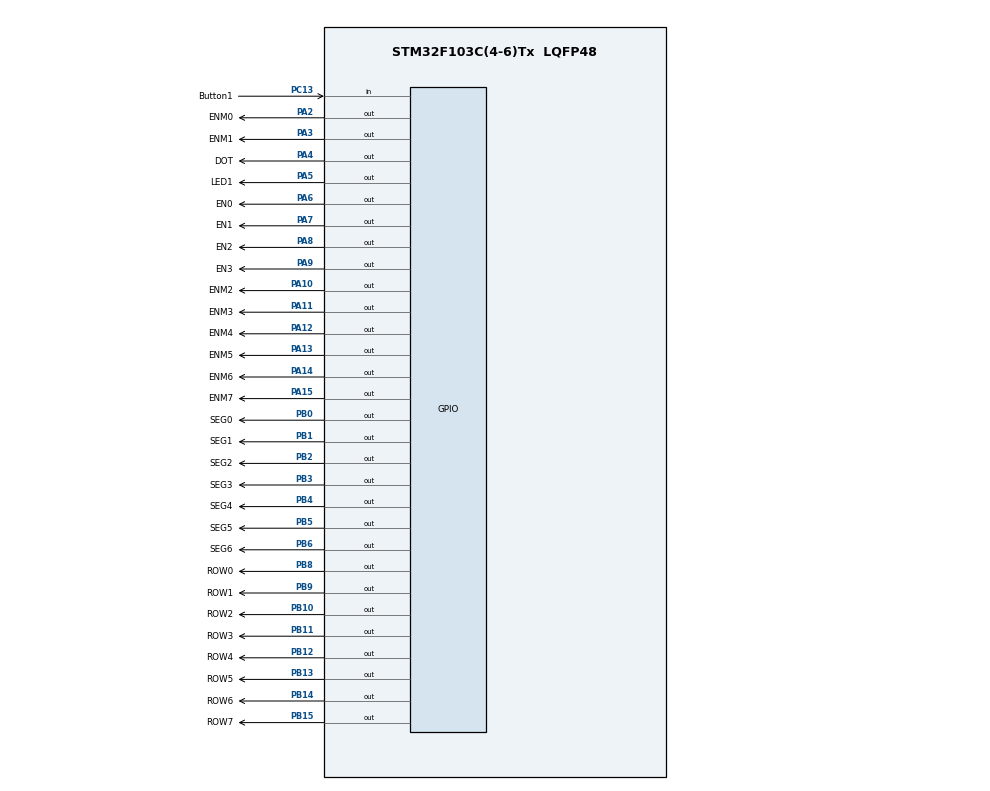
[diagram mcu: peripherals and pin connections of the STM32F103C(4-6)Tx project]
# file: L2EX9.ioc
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Mcu.Family=STM32F1
Mcu.Name=STM32F103C(4-6)Tx
Mcu.Package=LQFP48
NVIC.PriorityGroup=NVIC_PRIORITYGROUP_4
NVIC.TIM2_IRQn=true\:0\:0\:false\:false\:true\:true\:true\:true
PA10.GPIO_Label=ENM2
PA10.Signal=GPIO_Output
PA11.GPIO_Label=ENM3
PA11.Signal=GPIO_Output
PA12.GPIO_Label=ENM4
PA12.Signal=GPIO_Output
PA13.GPIO_Label=ENM5
PA13.Signal=GPIO_Output
PA14.GPIO_Label=ENM6
PA14.Signal=GPIO_Output
PA15.GPIO_Label=ENM7
PA15.Signal=GPIO_Output
PA2.GPIO_Label=ENM0
PA2.Signal=GPIO_Output
PA3.GPIO_Label=ENM1
PA3.Signal=GPIO_Output
PA4.GPIO_Label=DOT
PA4.Signal=GPIO_Output
PA5.GPIO_Label=LED1
PA5.Signal=GPIO_Output
PA6.GPIO_Label=EN0
PA6.Signal=GPIO_Output
PA7.GPIO_Label=EN1
PA7.Signal=GPIO_Output
PA8.GPIO_Label=EN2
PA8.Signal=GPIO_Output
PA9.GPIO_Label=EN3
PA9.Signal=GPIO_Output
PB0.GPIO_Label=SEG0
PB0.Signal=GPIO_Output
PB1.GPIO_Label=SEG1
PB1.Signal=GPIO_Output
PB10.GPIO_Label=ROW2
PB10.Signal=GPIO_Output
PB11.GPIO_Label=ROW3
PB11.Signal=GPIO_Output
PB12.GPIO_Label=ROW4
PB12.Signal=GPIO_Output
PB13.GPIO_Label=ROW5
PB13.Signal=GPIO_Output
PB14.GPIO_Label=ROW6
PB14.Signal=GPIO_Output
PB15.GPIO_Label=ROW7
PB15.Signal=GPIO_Output
PB2.GPIO_Label=SEG2
PB2.Signal=GPIO_Output
PB3.GPIO_Label=SEG3
PB3.Signal=GPIO_Output
PB4.GPIO_Label=SEG4
PB4.Signal=GPIO_Output
PB5.GPIO_Label=SEG5
PB5.Signal=GPIO_Output
PB6.GPIO_Label=SEG6
PB6.Signal=GPIO_Output
PB8.GPIO_Label=ROW0
PB8.Signal=GPIO_Output
PB9.GPIO_Label=ROW1
PB9.Signal=GPIO_Output
PC13-TAMPER-RTC.GPIO_Label=Button1
PC13-TAMPER-RTC.GPIO_PuPd=GPIO_PULLUP
PC13-TAMPER-RTC.Signal=GPIO_Input
ProjectManager.HeapSize=0x200
ProjectManager.StackSize=0x400
ProjectManager.TargetToolchain=STM32CubeIDE
RCC.APB1Freq_Value=8000000
RCC.APB2Freq_Value=8000000
TIM2.Period=9
TIM2.Prescaler=7999
VP_TIM2_VS_ClockSourceINT.Mode=Internal
board=custom

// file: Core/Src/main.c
/* USER CODE BEGIN Header */
/**
  ******************************************************************************
  * @file           : main.c
  * @brief          : Main program body
  ******************************************************************************
  * @attention
  *
  * Copyright (c) 2022 STMicroelectronics.
  * All rights reserved.
  *
  * This software is licensed under terms that can be found in the LICENSE file
  * in the root directory of this software component.
  * If no LICENSE file comes with this software, it is provided AS-IS.
  *
  ******************************************************************************
  */
/* USER CODE END Header */
#include "main.h"

/* USER CODE BEGIN Includes */
#include "Software_Timer.h"

/* USER CODE END Includes */

TIM_HandleTypeDef htim2;

void SystemClock_Config(void);
static void MX_GPIO_Init(void);
static void MX_TIM2_Init(void);

/* USER CODE BEGIN 0 */
void display7SEG(int num){

	switch(num) {
	  case 0:
	    	HAL_GPIO_WritePin(SEG0_GPIO_Port, SEG0_Pin, RESET);
	    	HAL_GPIO_WritePin(SEG1_GPIO_Port, SEG1_Pin, RESET);
	    	HAL_GPIO_WritePin(SEG2_GPIO_Port, SEG2_Pin, RESET);
	    	HAL_GPIO_WritePin(SEG3_GPIO_Port, SEG3_Pin, RESET);
	    	HAL_GPIO_WritePin(SEG4_GPIO_Port, SEG4_Pin, RESET);
	    	HAL_GPIO_WritePin(SEG5_GPIO_Port, SEG5_Pin, RESET);
	    	HAL_GPIO_WritePin(SEG6_GPIO_Port, SEG6_Pin, SET);
		  	break;
	  case 1:
		    HAL_GPIO_WritePin(SEG0_GPIO_Port, SEG0_Pin, SET);
	    	HAL_GPIO_WritePin(SEG1_GPIO_Port, SEG1_Pin, RESET);
		   	HAL_GPIO_WritePin(SEG2_GPIO_Port, SEG2_Pin, RESET);
		  	HAL_GPIO_WritePin(SEG3_GPIO_Port, SEG3_Pin, SET);
		  	HAL_GPIO_WritePin(SEG4_GPIO_Port, SEG4_Pin, SET);
		   	HAL_GPIO_WritePin(SEG5_GPIO_Port, SEG5_Pin, SET);
		   	HAL_GPIO_WritePin(SEG6_GPIO_Port, SEG6_Pin, SET);
		  	break;
	  case 2:
		    HAL_GPIO_WritePin(SEG0_GPIO_Port, SEG0_Pin, RESET);
		    HAL_GPIO_WritePin(SEG1_GPIO_Port, SEG1_Pin, RESET);
		    HAL_GPIO_WritePin(SEG2_GPIO_Port, SEG2_Pin, SET);
		    HAL_GPIO_WritePin(SEG3_GPIO_Port, SEG3_Pin, RESET);
		    HAL_GPIO_WritePin(SEG4_GPIO_Port, SEG4_Pin, RESET);
		    HAL_GPIO_WritePin(SEG5_GPIO_Port, SEG5_Pin, SET);
		    HAL_GPIO_WritePin(SEG6_GPIO_Port, SEG6_Pin, RESET);
		   	break;
	  case 3:
		  	HAL_GPIO_WritePin(SEG0_GPIO_Port, SEG0_Pin, RESET);
		    HAL_GPIO_WritePin(SEG1_GPIO_Port, SEG1_Pin, RESET);
		    HAL_GPIO_WritePin(SEG2_GPIO_Port, SEG2_Pin, RESET);
		    HAL_GPIO_WritePin(SEG3_GPIO_Port, SEG3_Pin, RESET);
		    HAL_GPIO_WritePin(SEG4_GPIO_Port, SEG4_Pin, SET);
		    HAL_GPIO_WritePin(SEG5_GPIO_Port, SEG5_Pin, SET);
		  	HAL_GPIO_WritePin(SEG6_GPIO_Port, SEG6_Pin, RESET);
		  	break;
	  case 4:
		  	HAL_GPIO_WritePin(SEG0_GPIO_Port, SEG0_Pin, SET);
		    HAL_GPIO_WritePin(SEG1_GPIO_Port, SEG1_Pin, RESET);
		    HAL_GPIO_WritePin(SEG2_GPIO_Port, SEG2_Pin, RESET);
		    HAL_GPIO_WritePin(SEG3_GPIO_Port, SEG3_Pin, SET);
		    HAL_GPIO_WritePin(SEG4_GPIO_Port, SEG4_Pin, SET);
		    HAL_GPIO_WritePin(SEG5_GPIO_Port, SEG5_Pin, RESET);
		    HAL_GPIO_WritePin(SEG6_GPIO_Port, SEG6_Pin, RESET);
		    break;
	  case 5:
		    HAL_GPIO_WritePin(SEG0_GPIO_Port, SEG0_Pin, RESET);
		    HAL_GPIO_WritePin(SEG1_GPIO_Port, SEG1_Pin, SET);
		    HAL_GPIO_WritePin(SEG2_GPIO_Port, SEG2_Pin, RESET);
		    HAL_GPIO_WritePin(SEG3_GPIO_Port, SEG3_Pin, RESET);
		    HAL_GPIO_WritePin(SEG4_GPIO_Port, SEG4_Pin, SET);
		    HAL_GPIO_WritePin(SEG5_GPIO_Port, SEG5_Pin, RESET);
		    HAL_GPIO_WritePin(SEG6_GPIO_Port, SEG6_Pin, RESET);
	  	    break;
	  case 6:
		  	HAL_GPIO_WritePin(SEG0_GPIO_Port, SEG0_Pin, RESET);
		    HAL_GPIO_WritePin(SEG1_GPIO_Port, SEG1_Pin, SET);
		    HAL_GPIO_WritePin(SEG2_GPIO_Port, SEG2_Pin, RESET);
		    HAL_GPIO_WritePin(SEG3_GPIO_Port, SEG3_Pin, RESET);
		    HAL_GPIO_WritePin(SEG4_GPIO_Port, SEG4_Pin, RESET);
		    HAL_GPIO_WritePin(SEG5_GPIO_Port, SEG5_Pin, RESET);
		    HAL_GPIO_WritePin(SEG6_GPIO_Port, SEG6_Pin, RESET);
		    break;
	  case 7:
	  		HAL_GPIO_WritePin(SEG0_GPIO_Port, SEG0_Pin, RESET);
	  		HAL_GPIO_WritePin(SEG1_GPIO_Port, SEG1_Pin, RESET);
	  	    HAL_GPIO_WritePin(SEG2_GPIO_Port, SEG2_Pin, RESET);
	  	    HAL_GPIO_WritePin(SEG3_GPIO_Port, SEG3_Pin, SET);
		    HAL_GPIO_WritePin(SEG4_GPIO_Port, SEG4_Pin, SET);
 		    HAL_GPIO_WritePin(SEG5_GPIO_Port, SEG5_Pin, SET);
		    HAL_GPIO_WritePin(SEG6_GPIO_Port, SEG6_Pin, SET);
	  		break;
	  case 8:
	    	HAL_GPIO_WritePin(SEG0_GPIO_Port, SEG0_Pin, RESET);
		    HAL_GPIO_WritePin(SEG1_GPIO_Port, SEG1_Pin, RESET);
		    HAL_GPIO_WritePin(SEG2_GPIO_Port, SEG2_Pin, RESET);
		    HAL_GPIO_WritePin(SEG3_GPIO_Port, SEG3_Pin, RESET);
	        HAL_GPIO_WritePin(SEG4_GPIO_Port, SEG4_Pin, RESET);
	  	    HAL_GPIO_WritePin(SEG5_GPIO_Port, SEG5_Pin, RESET);
		    HAL_GPIO_WritePin(SEG6_GPIO_Port, SEG6_Pin, RESET);
		    break;
	  case 9:
	  		HAL_GPIO_WritePin(SEG0_GPIO_Port, SEG0_Pin, RESET);
	  		HAL_GPIO_WritePin(SEG1_GPIO_Port, SEG1_Pin, RESET);
	  		HAL_GPIO_WritePin(SEG2_GPIO_Port, SEG2_Pin, RESET);
	  	    HAL_GPIO_WritePin(SEG3_GPIO_Port, SEG3_Pin, RESET);
	  	    HAL_GPIO_WritePin(SEG4_GPIO_Port, SEG4_Pin, SET);
		    HAL_GPIO_WritePin(SEG5_GPIO_Port, SEG5_Pin, RESET);
	  		HAL_GPIO_WritePin(SEG6_GPIO_Port, SEG6_Pin, RESET);
	  	    break;
	  default:
		  	break;
	}

}

const int MAX_LED = 4;
int index_led = 0;
int led_buffer [4] = {1 , 2 , 3 , 4};
void update7SEG ( int index ) {
	switch ( index ) {
		case 0:
			// Display the first 7 SEG with led_buffer [0]
			HAL_GPIO_WritePin(EN1_GPIO_Port, EN1_Pin, SET);
			HAL_GPIO_WritePin(EN2_GPIO_Port, EN2_Pin, SET);
			HAL_GPIO_WritePin(EN3_GPIO_Port, EN3_Pin, SET);
			display7SEG(led_buffer[0]);
			HAL_GPIO_WritePin(EN0_GPIO_Port, EN0_Pin, RESET);
		break ;
		case 1:
			// Display the second 7 SEG with led_buffer [1]
			HAL_GPIO_WritePin(EN0_GPIO_Port, EN0_Pin, SET);
			HAL_GPIO_WritePin(EN2_GPIO_Port, EN2_Pin, SET);
			HAL_GPIO_WritePin(EN3_GPIO_Port, EN3_Pin, SET);
			display7SEG(led_buffer[1]);
			HAL_GPIO_WritePin(EN1_GPIO_Port, EN1_Pin, RESET);
		break ;
		case 2:
			// Display the third 7 SEG with led_buffer [2]
			HAL_GPIO_WritePin(EN1_GPIO_Port, EN1_Pin, SET);
			HAL_GPIO_WritePin(EN0_GPIO_Port, EN0_Pin, SET);
			HAL_GPIO_WritePin(EN3_GPIO_Port, EN3_Pin, SET);
			display7SEG(led_buffer[2]);
			HAL_GPIO_WritePin(EN2_GPIO_Port, EN2_Pin, RESET);
		break ;
		case 3:
			// Display the forth 7 SEG with led_buffer [3]
			HAL_GPIO_WritePin(EN1_GPIO_Port, EN1_Pin, SET);
			HAL_GPIO_WritePin(EN2_GPIO_Port, EN2_Pin, SET);
			HAL_GPIO_WritePin(EN0_GPIO_Port, EN0_Pin, SET);
			display7SEG(led_buffer[3]);
			HAL_GPIO_WritePin(EN3_GPIO_Port, EN3_Pin, RESET);
		break ;
		default :
		break ;
	}
}

void updateClockBuffer(int hour, int minute){
	if (hour < 10){
		led_buffer[0] = 0;
		led_buffer[1] = hour;
	}
	else {
		led_buffer[0] = hour/10;
		led_buffer[1] = hour%10;
	}

	if (minute < 10){
		led_buffer[2] = 0;
		led_buffer[3] = minute;
	}
	else {
		led_buffer[2] = minute/10;
		led_buffer[3] = minute%10;
	}

}

const int MAX_LED_MATRIX = 8;
int index_led_matrix = 0;
uint32_t matrix_buffer [8] = {0xff00 , 0x8000 , 0x0000 , 0x3700 , 0x3700 , 0x0000 , 0x8000 , 0xff00 };
void updateLEDMatrix (int index ) {
	switch ( index ) {
		case 0:
			  HAL_GPIO_WritePin(ENM0_GPIO_Port, ENM0_Pin, RESET);
			  HAL_GPIO_WritePin(ENM1_GPIO_Port, ENM1_Pin, SET);
			  HAL_GPIO_WritePin(ENM2_GPIO_Port, ENM2_Pin, SET);
			  HAL_GPIO_WritePin(ENM3_GPIO_Port, ENM3_Pin, SET);
			  HAL_GPIO_WritePin(ENM4_GPIO_Port, ENM4_Pin, SET);
			  HAL_GPIO_WritePin(ENM5_GPIO_Port, ENM5_Pin, SET);
			  HAL_GPIO_WritePin(ENM6_GPIO_Port, ENM6_Pin, SET);
			  HAL_GPIO_WritePin(ENM6_GPIO_Port, ENM7_Pin, SET);
			  GPIOB->ODR = matrix_buffer[0];
			break ;
		case 1:
			HAL_GPIO_WritePin(ENM0_GPIO_Port, ENM0_Pin, SET);
			HAL_GPIO_WritePin(ENM1_GPIO_Port, ENM1_Pin, RESET);
			HAL_GPIO_WritePin(ENM2_GPIO_Port, ENM2_Pin, SET);
			HAL_GPIO_WritePin(ENM3_GPIO_Port, ENM3_Pin, SET);
			HAL_GPIO_WritePin(ENM4_GPIO_Port, ENM4_Pin, SET);
			HAL_GPIO_WritePin(ENM5_GPIO_Port, ENM5_Pin, SET);
			HAL_GPIO_WritePin(ENM6_GPIO_Port, ENM6_Pin, SET);
			HAL_GPIO_WritePin(ENM6_GPIO_Port, ENM7_Pin, SET);
			  GPIOB->ODR = matrix_buffer[1];
			break ;
		case 2:
			HAL_GPIO_WritePin(ENM0_GPIO_Port, ENM0_Pin, SET);
			HAL_GPIO_WritePin(ENM1_GPIO_Port, ENM1_Pin, SET);
			HAL_GPIO_WritePin(ENM2_GPIO_Port, ENM2_Pin, RESET);
			HAL_GPIO_WritePin(ENM3_GPIO_Port, ENM3_Pin, SET);
			HAL_GPIO_WritePin(ENM4_GPIO_Port, ENM4_Pin, SET);
			HAL_GPIO_WritePin(ENM5_GPIO_Port, ENM5_Pin, SET);
			HAL_GPIO_WritePin(ENM6_GPIO_Port, ENM6_Pin, SET);
			HAL_GPIO_WritePin(ENM6_GPIO_Port, ENM7_Pin, SET);
			  GPIOB->ODR = matrix_buffer[2];

			break ;
		case 3:
			HAL_GPIO_WritePin(ENM0_GPIO_Port, ENM0_Pin, SET);
			HAL_GPIO_WritePin(ENM1_GPIO_Port, ENM1_Pin, SET);
			HAL_GPIO_WritePin(ENM2_GPIO_Port, ENM2_Pin, SET);
			HAL_GPIO_WritePin(ENM3_GPIO_Port, ENM3_Pin, RESET);
			HAL_GPIO_WritePin(ENM4_GPIO_Port, ENM4_Pin, SET);
			HAL_GPIO_WritePin(ENM5_GPIO_Port, ENM5_Pin, SET);
			HAL_GPIO_WritePin(ENM6_GPIO_Port, ENM6_Pin, SET);
			HAL_GPIO_WritePin(ENM6_GPIO_Port, ENM7_Pin, SET);
			  GPIOB->ODR = matrix_buffer[3];

			break ;
		case 4:
			HAL_GPIO_WritePin(ENM0_GPIO_Port, ENM0_Pin, SET);
			HAL_GPIO_WritePin(ENM1_GPIO_Port, ENM1_Pin, SET);
			HAL_GPIO_WritePin(ENM2_GPIO_Port, ENM2_Pin, SET);
			HAL_GPIO_WritePin(ENM3_GPIO_Port, ENM3_Pin, SET);
			HAL_GPIO_WritePin(ENM4_GPIO_Port, ENM4_Pin, RESET);
			HAL_GPIO_WritePin(ENM5_GPIO_Port, ENM5_Pin, SET);
			HAL_GPIO_WritePin(ENM6_GPIO_Port, ENM6_Pin, SET);
			HAL_GPIO_WritePin(ENM6_GPIO_Port, ENM7_Pin, SET);
			  GPIOB->ODR = matrix_buffer[4];

			break ;
		case 5:
			HAL_GPIO_WritePin(ENM0_GPIO_Port, ENM0_Pin, SET);
			HAL_GPIO_WritePin(ENM1_GPIO_Port, ENM1_Pin, SET);
			HAL_GPIO_WritePin(ENM2_GPIO_Port, ENM2_Pin, SET);
			HAL_GPIO_WritePin(ENM3_GPIO_Port, ENM3_Pin, SET);
			HAL_GPIO_WritePin(ENM4_GPIO_Port, ENM4_Pin, SET);
			HAL_GPIO_WritePin(ENM5_GPIO_Port, ENM5_Pin, RESET);
			HAL_GPIO_WritePin(ENM6_GPIO_Port, ENM6_Pin, SET);
			HAL_GPIO_WritePin(ENM6_GPIO_Port, ENM7_Pin, SET);
			  GPIOB->ODR = matrix_buffer[5];

			break ;
		case 6:
			HAL_GPIO_WritePin(ENM0_GPIO_Port, ENM0_Pin, SET);
			HAL_GPIO_WritePin(ENM1_GPIO_Port, ENM1_Pin, SET);
			HAL_GPIO_WritePin(ENM2_GPIO_Port, ENM2_Pin, SET);
			HAL_GPIO_WritePin(ENM3_GPIO_Port, ENM3_Pin, SET);
			HAL_GPIO_WritePin(ENM4_GPIO_Port, ENM4_Pin, SET);
			HAL_GPIO_WritePin(ENM5_GPIO_Port, ENM5_Pin, SET);
			HAL_GPIO_WritePin(ENM6_GPIO_Port, ENM6_Pin, RESET);
			HAL_GPIO_WritePin(ENM6_GPIO_Port, ENM7_Pin, SET);
			  GPIOB->ODR = matrix_buffer[6];

			break ;
		case 7:
			HAL_GPIO_WritePin(ENM0_GPIO_Port, ENM0_Pin, SET);
			HAL_GPIO_WritePin(ENM1_GPIO_Port, ENM1_Pin, SET);
			HAL_GPIO_WritePin(ENM2_GPIO_Port, ENM2_Pin, SET);
			HAL_GPIO_WritePin(ENM3_GPIO_Port, ENM3_Pin, SET);
			HAL_GPIO_WritePin(ENM4_GPIO_Port, ENM4_Pin, SET);
			HAL_GPIO_WritePin(ENM5_GPIO_Port, ENM5_Pin, SET);
			HAL_GPIO_WritePin(ENM6_GPIO_Port, ENM6_Pin, SET);
			HAL_GPIO_WritePin(ENM6_GPIO_Port, ENM7_Pin, RESET);
			  GPIOB->ODR = matrix_buffer[7];

			break ;
		default :
			break ;
	}
}

/* USER CODE END 0 */

int main(void)
{

  /* MCU Configuration--------------------------------------------------------*/

  /* Reset of all peripherals, Initializes the Flash interface and the Systick. */
  HAL_Init();

  /* Configure the system clock */
  SystemClock_Config();

  /* Initialize all configured peripherals */
  MX_GPIO_Init();
  MX_TIM2_Init();
  /* USER CODE BEGIN 2 */
  HAL_TIM_Base_Start_IT(&htim2);

  HAL_GPIO_WritePin(EN0_GPIO_Port, EN0_Pin, SET);
  HAL_GPIO_WritePin(EN1_GPIO_Port, EN1_Pin, SET);
  HAL_GPIO_WritePin(EN2_GPIO_Port, EN2_Pin, SET);
  HAL_GPIO_WritePin(EN3_GPIO_Port, EN3_Pin, SET);

  /* USER CODE END 2 */

  /* Infinite loop */
  /* USER CODE BEGIN WHILE */
  int hour = 15 , minute = 59 , second = 50;
  int led_index = 0;

  setTimer1(13);
  setTimer2(17);
  setTimer3(19);

  setTimer4(50);

  while (1)
  {

	  if (timer1_flag == 1){
		  setTimer1(100);
		  second++;
	  	  if ( second >= 60) {
		  	  second = 0;
		  	  minute ++;
	  	  }
	  	  if( minute >= 60) {
		  	  minute = 0;
		  	  hour ++;
	  	  }
	  	  if( hour >=24) {
		  	  hour = 0;
	  	  }
	  	  updateClockBuffer(hour, minute);
	  }

	  if(timer2_flag == 1){
		  setTimer2(25);
		  if (led_index > 3){
			  led_index = 0;
		  }
		  update7SEG(led_index++);
	  }

	  if (timer3_flag == 1){
		  setTimer3(100);
		  HAL_GPIO_TogglePin(DOT_GPIO_Port, DOT_Pin);
	  }

	  if (timer4_flag == 1){
		  setTimer4(37);
		  updateLEDMatrix(index_led_matrix++);
		  if (index_led_matrix > 7) index_led_matrix = 0;
	  }

    /* USER CODE END WHILE */

  }
}

void SystemClock_Config(void)
{
  RCC_OscInitTypeDef RCC_OscInitStruct = {0};
  RCC_ClkInitTypeDef RCC_ClkInitStruct = {0};

  /** Initializes the RCC Oscillators according to the specified parameters
  * in the RCC_OscInitTypeDef structure.
  */
  RCC_OscInitStruct.OscillatorType = RCC_OSCILLATORTYPE_HSI;
  RCC_OscInitStruct.HSIState = RCC_HSI_ON;
  RCC_OscInitStruct.HSICalibrationValue = RCC_HSICALIBRATION_DEFAULT;
  RCC_OscInitStruct.PLL.PLLState = RCC_PLL_NONE;
  if (HAL_RCC_OscConfig(&RCC_OscInitStruct) != HAL_OK)
  {
    Error_Handler();
  }

  /** Initializes the CPU, AHB and APB buses clocks
  */
  RCC_ClkInitStruct.ClockType = RCC_CLOCKTYPE_HCLK|RCC_CLOCKTYPE_SYSCLK
                              |RCC_CLOCKTYPE_PCLK1|RCC_CLOCKTYPE_PCLK2;
  RCC_ClkInitStruct.SYSCLKSource = RCC_SYSCLKSOURCE_HSI;
  RCC_ClkInitStruct.AHBCLKDivider = RCC_SYSCLK_DIV1;
  RCC_ClkInitStruct.APB1CLKDivider = RCC_HCLK_DIV1;
  RCC_ClkInitStruct.APB2CLKDivider = RCC_HCLK_DIV1;

  if (HAL_RCC_ClockConfig(&RCC_ClkInitStruct, FLASH_LATENCY_0) != HAL_OK)
  {
    Error_Handler();
  }
}

static void MX_TIM2_Init(void)
{

  TIM_ClockConfigTypeDef sClockSourceConfig = {0};
  TIM_MasterConfigTypeDef sMasterConfig = {0};

  htim2.Instance = TIM2;
  htim2.Init.Prescaler = 7999;
  htim2.Init.CounterMode = TIM_COUNTERMODE_UP;
  htim2.Init.Period = 9;
  htim2.Init.ClockDivision = TIM_CLOCKDIVISION_DIV1;
  htim2.Init.AutoReloadPreload = TIM_AUTORELOAD_PRELOAD_DISABLE;
  if (HAL_TIM_Base_Init(&htim2) != HAL_OK)
  {
    Error_Handler();
  }
  sClockSourceConfig.ClockSource = TIM_CLOCKSOURCE_INTERNAL;
  if (HAL_TIM_ConfigClockSource(&htim2, &sClockSourceConfig) != HAL_OK)
  {
    Error_Handler();
  }
  sMasterConfig.MasterOutputTrigger = TIM_TRGO_RESET;
  sMasterConfig.MasterSlaveMode = TIM_MASTERSLAVEMODE_DISABLE;
  if (HAL_TIMEx_MasterConfigSynchronization(&htim2, &sMasterConfig) != HAL_OK)
  {
    Error_Handler();
  }

}

static void MX_GPIO_Init(void)
{
  GPIO_InitTypeDef GPIO_InitStruct = {0};

  /* GPIO Ports Clock Enable */
  __HAL_RCC_GPIOC_CLK_ENABLE();
  __HAL_RCC_GPIOA_CLK_ENABLE();
  __HAL_RCC_GPIOB_CLK_ENABLE();

  /*Configure GPIO pin Output Level */
  HAL_GPIO_WritePin(GPIOA, ENM0_Pin|ENM1_Pin|DOT_Pin|LED1_Pin
                          |EN0_Pin|EN1_Pin|EN2_Pin|EN3_Pin
                          |ENM2_Pin|ENM3_Pin|ENM4_Pin|ENM5_Pin
                          |ENM6_Pin|ENM7_Pin, GPIO_PIN_RESET);

  /*Configure GPIO pin Output Level */
  HAL_GPIO_WritePin(GPIOB, SEG0_Pin|SEG1_Pin|SEG2_Pin|ROW2_Pin
                          |ROW3_Pin|ROW4_Pin|ROW5_Pin|ROW6_Pin
                          |ROW7_Pin|SEG3_Pin|SEG4_Pin|SEG5_Pin
                          |SEG6_Pin|ROW0_Pin|ROW1_Pin, GPIO_PIN_RESET);

  /*Configure GPIO pin : Button1_Pin */
  GPIO_InitStruct.Pin = Button1_Pin;
  GPIO_InitStruct.Mode = GPIO_MODE_INPUT;
  GPIO_InitStruct.Pull = GPIO_PULLUP;
  HAL_GPIO_Init(Button1_GPIO_Port, &GPIO_InitStruct);

  /*Configure GPIO pins : ENM0_Pin ENM1_Pin DOT_Pin LED1_Pin
                           EN0_Pin EN1_Pin EN2_Pin EN3_Pin
                           ENM2_Pin ENM3_Pin ENM4_Pin ENM5_Pin
                           ENM6_Pin ENM7_Pin */
  GPIO_InitStruct.Pin = ENM0_Pin|ENM1_Pin|DOT_Pin|LED1_Pin
                          |EN0_Pin|EN1_Pin|EN2_Pin|EN3_Pin
                          |ENM2_Pin|ENM3_Pin|ENM4_Pin|ENM5_Pin
                          |ENM6_Pin|ENM7_Pin;
  GPIO_InitStruct.Mode = GPIO_MODE_OUTPUT_PP;
  GPIO_InitStruct.Pull = GPIO_NOPULL;
  GPIO_InitStruct.Speed = GPIO_SPEED_FREQ_LOW;
  HAL_GPIO_Init(GPIOA, &GPIO_InitStruct);

  /*Configure GPIO pins : SEG0_Pin SEG1_Pin SEG2_Pin ROW2_Pin
                           ROW3_Pin ROW4_Pin ROW5_Pin ROW6_Pin
                           ROW7_Pin SEG3_Pin SEG4_Pin SEG5_Pin
                           SEG6_Pin ROW0_Pin ROW1_Pin */
  GPIO_InitStruct.Pin = SEG0_Pin|SEG1_Pin|SEG2_Pin|ROW2_Pin
                          |ROW3_Pin|ROW4_Pin|ROW5_Pin|ROW6_Pin
                          |ROW7_Pin|SEG3_Pin|SEG4_Pin|SEG5_Pin
                          |SEG6_Pin|ROW0_Pin|ROW1_Pin;
  GPIO_InitStruct.Mode = GPIO_MODE_OUTPUT_PP;
  GPIO_InitStruct.Pull = GPIO_NOPULL;
  GPIO_InitStruct.Speed = GPIO_SPEED_FREQ_LOW;
  HAL_GPIO_Init(GPIOB, &GPIO_InitStruct);

}

/* USER CODE BEGIN 4 */

/*
int counter = 25;		//thiet lap he so
int led_index = 0;
int state = 0;

void HAL_TIM_PeriodElapsedCallback(TIM_HandleTypeDef *htim){

	if (led_index > 3) {
		led_index = 0;
		HAL_GPIO_TogglePin(DOT2_GPIO_Port, DOT2_Pin);
	}

	if (counter ==  1){
			//BEGIN-TODO

		update7SEG(led_index++);

			//END-TODO
		counter = 25;		// * thay doi he so *

	}
	else counter--;
}
*/

void HAL_TIM_PeriodElapsedCallback(TIM_HandleTypeDef *htim){
	timerRun();
}

/* USER CODE END 4 */

void Error_Handler(void)
{
  __disable_irq();
  while (1)
  {
  }
}
